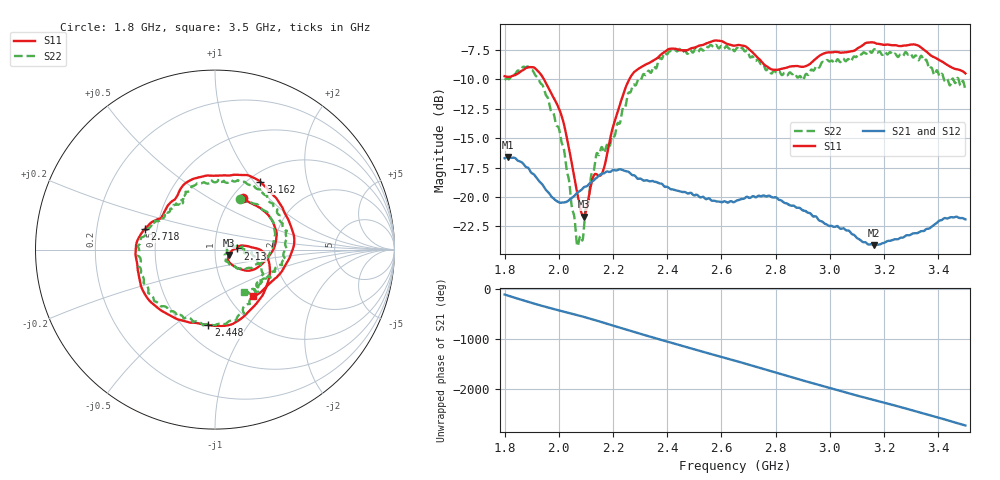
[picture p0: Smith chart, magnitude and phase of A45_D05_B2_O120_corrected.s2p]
! Created with skrf 1.9.0 (http://scikit-rf.org).
# Hz S RI R 50.0
!freq ReS11 ImS11 ReS21 ImS21 ReS12 ImS12 ReS22 ImS22
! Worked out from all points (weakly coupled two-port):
!   1601 points, 1.8 GHz to 3.5 GHz, reference 50 ohm
!   highest |S21| = -16.61 dB at 1.812 GHz (marker M1); lowest = -24.1 dB at 3.162 GHz (marker M2)
!   lowest |S11| = -21.7 dB at 2.092 GHz (marker M3), VSWR 1.18, Z = 58.2 - j3.57 ohm
!   |S11| at or under -10 dB: 1.946 GHz to 2.26 GHz (314.2 MHz wide, 14.9 % of centre)
!   |S22| runs from -24.2 to -7.1 dB; largest |S21 - S12| = 0.0024
!   S11 on the Smith chart (normalised r, x): 1.8 GHz: 1.12, +0.72; 2.13 GHz: 1.28, +0.02; 2.448 GHz: 0.66, -0.67; 2.718 GHz: 0.43, +0.12; 3.162 GHz: 1.13, +1.08; 3.5 GHz: 1.29, -0.76
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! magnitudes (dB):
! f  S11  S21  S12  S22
! 1.8 GHz  -9.7  -16.7  -16.7  -10.0
! 1.812 GHz  -9.8  -16.6  -16.6  -9.9
! 1.883 GHz  -9.0  -17.5  -17.5  -8.9
! 1.941 GHz  -9.8  -19.0  -19.0  -10.5
! 2.014 GHz  -13.3  -20.5  -20.5  -15.6
! 2.066 GHz  -19.4  -19.7  -19.7  -23.8
! 2.084 GHz  -21.4  -19.4  -19.3  -23.6
! 2.092 GHz  -21.7  -19.2  -19.2  -22.8
! 2.13 GHz  -18.1  -18.6  -18.5  -17.6
! 2.163 GHz  -17.8  -18.0  -17.9  -16.0
! 2.204 GHz  -13.7  -17.7  -17.7  -14.9
! 2.261 GHz  -9.9  -17.9  -17.9  -11.1
! 2.367 GHz  -8.1  -18.8  -18.7  -8.4
! 2.448 GHz  -7.5  -19.5  -19.5  -7.5
! 2.65 GHz  -7.1  -20.4  -20.4  -7.6
! 2.718 GHz  -7.8  -19.9  -19.9  -8.1
! 2.791 GHz  -9.2  -20.0  -20.0  -9.3
! 2.934 GHz  -8.5  -21.5  -21.5  -9.2
! 3.162 GHz  -6.8  -24.1  -24.0  -7.4
! 3.217 GHz  -7.0  -23.7  -23.7  -7.8
! 3.341 GHz  -7.3  -22.9  -22.9  -8.1
! 3.5 GHz  -9.5  -21.9  -21.9  -10.9
